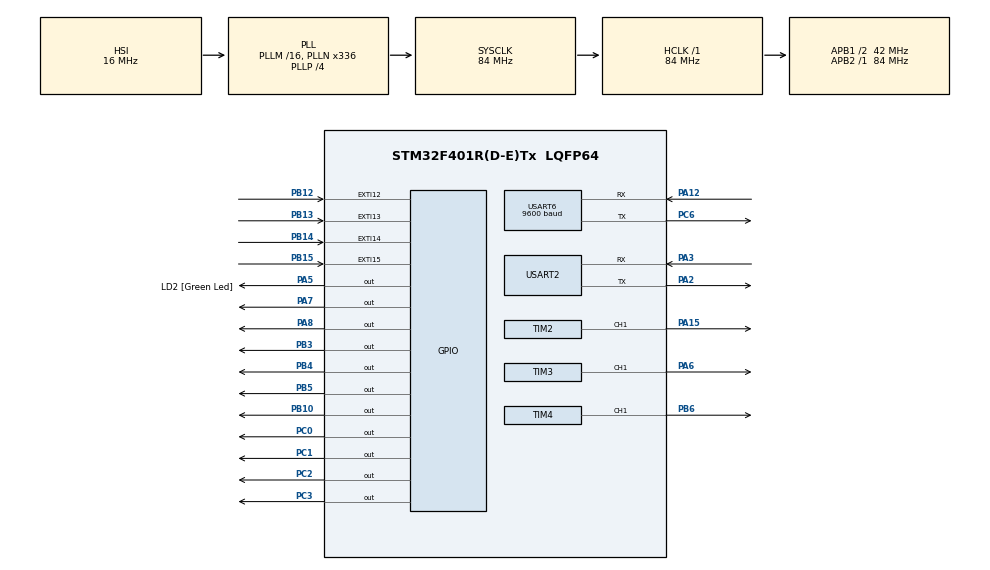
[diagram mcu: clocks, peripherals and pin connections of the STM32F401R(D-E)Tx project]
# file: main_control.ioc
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Mcu.Family=STM32F4
Mcu.Name=STM32F401R(D-E)Tx
Mcu.Package=LQFP64
NVIC.EXTI15_10_IRQn=true\:0\:0\:false\:false\:true\:true\:true\:true
NVIC.PriorityGroup=NVIC_PRIORITYGROUP_0
NVIC.TIM1_TRG_COM_TIM11_IRQn=true\:0\:0\:false\:false\:true\:true\:true\:true
NVIC.TIM1_UP_TIM10_IRQn=true\:0\:0\:false\:false\:true\:true\:true\:true
NVIC.TIM5_IRQn=true\:0\:0\:false\:false\:true\:true\:true\:true
NVIC.USART2_IRQn=true\:0\:0\:false\:false\:true\:true\:true\:true
NVIC.USART6_IRQn=true\:0\:0\:false\:false\:true\:true\:true\:true
PA12.Mode=Asynchronous
PA12.Signal=USART6_RX
PA13.GPIO_Label=TMS
PA13.Signal=SYS_JTMS-SWDIO
PA14.GPIO_Label=TCK
PA14.Signal=SYS_JTCK-SWCLK
PA15.Signal=S_TIM2_CH1_ETR
PA2.Mode=Asynchronous
PA2.Signal=USART2_TX
PA3.Mode=Asynchronous
PA3.Signal=USART2_RX
PA5.GPIO_Label=LD2 [Green Led]
PA5.GPIO_PuPd=GPIO_NOPULL
PA5.GPIO_Speed=GPIO_SPEED_FREQ_LOW
PA5.Signal=GPIO_Output
PA6.Signal=S_TIM3_CH1
PA7.Signal=GPIO_Output
PA8.Signal=GPIO_Output
PB10.Signal=GPIO_Output
PB12.Signal=GPXTI12
PB13.Signal=GPXTI13
PB14.Signal=GPXTI14
PB15.Signal=GPXTI15
PB3.Signal=GPIO_Output
PB4.Signal=GPIO_Output
PB5.Signal=GPIO_Output
PB6.Signal=S_TIM4_CH1
PC0.Signal=GPIO_Output
PC1.Signal=GPIO_Output
PC14-OSC32_IN.Signal=RCC_OSC32_IN
PC15-OSC32_OUT.Signal=RCC_OSC32_OUT
PC2.Signal=GPIO_Output
PC3.Signal=GPIO_Output
PC6.Mode=Asynchronous
PC6.Signal=USART6_TX
PH0\ -\ OSC_IN.Signal=RCC_OSC_IN
PH1\ -\ OSC_OUT.Signal=RCC_OSC_OUT
ProjectManager.HeapSize=0x200
ProjectManager.StackSize=0x400
ProjectManager.TargetToolchain=STM32CubeIDE
RCC.AHBFreq_Value=84000000
RCC.APB1CLKDivider=RCC_HCLK_DIV2
RCC.APB1Freq_Value=42000000
RCC.APB1TimFreq_Value=84000000
RCC.APB2Freq_Value=84000000
RCC.APB2TimFreq_Value=84000000
RCC.CortexFreq_Value=84000000
RCC.HCLKFreq_Value=84000000
RCC.HSE_VALUE=8000000
RCC.HSI_VALUE=16000000
RCC.LSE_VALUE=32768
RCC.PLLN=336
RCC.PLLP=RCC_PLLP_DIV4
RCC.PLLQ=7
RCC.SYSCLKFreq_VALUE=84000000
RCC.SYSCLKSource=RCC_SYSCLKSOURCE_PLLCLK
RCC.VCOOutputFreq_Value=336000000
SH.S_TIM2_CH1_ETR.0=TIM2_CH1,PWM Generation1 CH1
SH.S_TIM3_CH1.0=TIM3_CH1,PWM Generation1 CH1
SH.S_TIM4_CH1.0=TIM4_CH1,PWM Generation1 CH1
TIM10.Period=9000
TIM10.Prescaler=4500
TIM11.Period=3999
TIM11.Prescaler=39
TIM2.Channel-PWM\ Generation1\ CH1=TIM_CHANNEL_1
TIM2.Period=1999
TIM2.Prescaler=419
TIM3.Channel-PWM\ Generation1\ CH1=TIM_CHANNEL_1
TIM3.Period=1999
TIM3.Prescaler=419
TIM4.Channel-PWM\ Generation1\ CH1=TIM_CHANNEL_1
TIM4.Period=3999
TIM4.Prescaler=839
TIM4.Pulse-PWM\ Generation1\ CH1=2
TIM5.Period=3999
TIM5.Prescaler=83
USART2.VirtualMode=VM_ASYNC
USART6.BaudRate=9600
USART6.VirtualMode=VM_ASYNC
VP_TIM10_VS_ClockSourceINT.Mode=Enable_Timer
VP_TIM11_VS_ClockSourceINT.Mode=Enable_Timer
VP_TIM2_VS_ClockSourceINT.Mode=Internal
VP_TIM3_VS_ClockSourceINT.Mode=Internal
VP_TIM4_VS_ClockSourceINT.Mode=Internal
VP_TIM5_VS_ClockSourceINT.Mode=Internal
board=NUCLEO-F401RE

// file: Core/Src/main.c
/* USER CODE BEGIN Header */
/**
  ******************************************************************************
  * @file           : main.c
  * @brief          : Main program body
  ******************************************************************************
  * @attention
  *
  * Copyright (c) 2024 STMicroelectronics.
  * All rights reserved.
  *
  * This software is licensed under terms that can be found in the LICENSE file
  * in the root directory of this software component.
  * If no LICENSE file comes with this software, it is provided AS-IS.
  *
  ******************************************************************************
  */
/* USER CODE END Header */
#include "main.h"

/* USER CODE BEGIN Includes */
#include"stdio.h"
#include"string.h"

/* USER CODE END Includes */

TIM_HandleTypeDef htim2;
TIM_HandleTypeDef htim3;
TIM_HandleTypeDef htim4;
TIM_HandleTypeDef htim5;
TIM_HandleTypeDef htim10;
TIM_HandleTypeDef htim11;

UART_HandleTypeDef huart2;
UART_HandleTypeDef huart6;

void SystemClock_Config(void);
static void MX_GPIO_Init(void);
static void MX_USART2_UART_Init(void);
static void MX_USART6_UART_Init(void);
static void MX_TIM11_Init(void);
static void MX_TIM2_Init(void);
static void MX_TIM3_Init(void);
static void MX_TIM10_Init(void);
static void MX_TIM4_Init(void);
static void MX_TIM5_Init(void);

/* USER CODE BEGIN 0 */
#define ENABLE_GPIO GPIOA
#define ENABLE_PIN GPIO_PIN_8

#define DIR1_GPIO GPIOB
#define DIR1_PIN GPIO_PIN_10
#define DIR2_GPIO GPIOB
#define DIR2_PIN GPIO_PIN_4
#define DIR3_GPIO GPIOB
#define DIR3_PIN GPIO_PIN_5
#define DIR4_GPIO GPIOB
#define DIR4_PIN GPIO_PIN_3

#define STEP_GPIO GPIOA
#define STEP_PIN GPIO_PIN_7

#define HB1_GPIO  GPIOC
#define HB2_GPIO  GPIOC
#define HB3_GPIO  GPIOC
#define HB4_GPIO  GPIOC
#define HB1_PIN  GPIO_PIN_0
#define HB2_PIN GPIO_PIN_1
#define HB3_PIN GPIO_PIN_2
#define HB4_PIN GPIO_PIN_3
char answer = 0;
char answers[2] = {0};
int answerOffset = 1;

int stepState = 0;
int PINCH_FORWARD_CCR = 205;
int PINCH_BACKWARD_CCR = 320;
int PAN_STOP = 302;
int PAN_UP = 310;
int PAN_DOWN = 295;

void HAL_GPIO_EXTI_Callback(uint16_t pin){
	if(pin == GPIO_PIN_12 || pin == GPIO_PIN_13 || pin == GPIO_PIN_14 || pin == GPIO_PIN_15){
		HAL_TIM_Base_Start_IT(&htim5);
	}
}

void step(int num)
{
	HAL_GPIO_WritePin(STEP_GPIO, STEP_PIN, 1);
	HAL_Delay(5);
	HAL_GPIO_WritePin(STEP_GPIO, STEP_PIN, 0);
	HAL_Delay(5);
}

void set_forward_dir()
{
	HAL_GPIO_WritePin(DIR1_GPIO, DIR1_PIN, 1);
	HAL_GPIO_WritePin(DIR2_GPIO, DIR2_PIN, 1);
	HAL_GPIO_WritePin(DIR3_GPIO, DIR3_PIN, 1-1);
	HAL_GPIO_WritePin(DIR4_GPIO, DIR4_PIN, 1-1);
}
void set_backward_dir()
{
	HAL_GPIO_WritePin(DIR1_GPIO, DIR1_PIN, 0);
	HAL_GPIO_WritePin(DIR2_GPIO, DIR2_PIN, 0);
	HAL_GPIO_WritePin(DIR3_GPIO, DIR3_PIN, 1-0);
	HAL_GPIO_WritePin(DIR4_GPIO, DIR4_PIN, 1-0);
}
void set_left_dir()
{
	HAL_GPIO_WritePin(DIR1_GPIO, DIR1_PIN, 0);
	HAL_GPIO_WritePin(DIR2_GPIO, DIR2_PIN, 1);
	HAL_GPIO_WritePin(DIR3_GPIO, DIR3_PIN, 1-1);
	HAL_GPIO_WritePin(DIR4_GPIO, DIR4_PIN, 1-0);
}
void set_right_dir()
{
	HAL_GPIO_WritePin(DIR1_GPIO, DIR1_PIN, 1);
	HAL_GPIO_WritePin(DIR2_GPIO, DIR2_PIN, 0);
	HAL_GPIO_WritePin(DIR3_GPIO, DIR3_PIN, 1-0);
	HAL_GPIO_WritePin(DIR4_GPIO, DIR4_PIN, 1-1);
}
void set_ccw_dir()
{
	HAL_GPIO_WritePin(DIR1_GPIO, DIR1_PIN, 0);
	HAL_GPIO_WritePin(DIR2_GPIO, DIR2_PIN, 0);
	HAL_GPIO_WritePin(DIR3_GPIO, DIR3_PIN, 1-1);
	HAL_GPIO_WritePin(DIR4_GPIO, DIR4_PIN, 1-1);
}
void set_cw_dir()
{
	HAL_GPIO_WritePin(DIR1_GPIO, DIR1_PIN, 1);
	HAL_GPIO_WritePin(DIR2_GPIO, DIR2_PIN, 1);
	HAL_GPIO_WritePin(DIR3_GPIO, DIR3_PIN, 1-0);
	HAL_GPIO_WritePin(DIR4_GPIO, DIR4_PIN, 1-0);
}

static int steps_left = 0;
static int disabled = 0;
void enable()
{
	HAL_GPIO_WritePin(ENABLE_GPIO, ENABLE_PIN, 0);
}
void disable()
{
	HAL_GPIO_WritePin(ENABLE_GPIO, ENABLE_PIN, 1);
}

void HAL_TIM_PeriodElapsedCallback(TIM_HandleTypeDef *htim) {

	static int dir = 0;

    if (htim->Instance == TIM11) {
    	int disable_next = 0;
    	if (steps_left > 0)
    	{
    		enable();
    		if (stepState)
    		{
    			steps_left--;
    			if (steps_left == 0)
    			{
    				disable_next = 1;
    			}
    		}
    		switch(dir)
    		{
    		case 0:
    			set_forward_dir();
    			break;
    		case 1:
    			set_backward_dir();
    			break;
    		case 2:
    			set_left_dir();
    			break;
    		case 3:
    			set_right_dir();
    			break;
    		}
    	}
		HAL_GPIO_WritePin(STEP_GPIO, STEP_PIN, stepState ? GPIO_PIN_SET : GPIO_PIN_RESET);
    	stepState = !stepState;
    	if (disable_next)
    	{
    		disable();
    		disabled = 1;
    		HAL_TIM_Base_Stop_IT(&htim11);
    	}
    }
    else if (htim->Instance == TIM10)
    {
    	TIM2->CCR1 = PINCH_BACKWARD_CCR;
    	HAL_TIM_Base_Stop_IT(&htim10);
    }
    else if(htim->Instance == TIM5){
		GPIO_PinState ultra1 = HAL_GPIO_ReadPin(GPIOB, GPIO_PIN_12);
		GPIO_PinState ultra2 = HAL_GPIO_ReadPin(GPIOB, GPIO_PIN_13);
		GPIO_PinState ultra3 = HAL_GPIO_ReadPin(GPIOB, GPIO_PIN_14);
		GPIO_PinState ultra4 = HAL_GPIO_ReadPin(GPIOB, GPIO_PIN_15);
		if (steps_left == 0)
		{
			if(ultra1){
				 set_forward_dir();
				 dir = 0;
				 steps_left = 50;
				printf("1\n");
				HAL_TIM_Base_Start_IT(&htim11);
			}
			else if(ultra2){
				set_left_dir();
				dir = 3;
				steps_left = 50;
				printf("2\n");
				HAL_TIM_Base_Start_IT(&htim11);
			}
			else if(ultra3){
				set_backward_dir();
				dir = 1;
				steps_left = 50;
				printf("3\n");
				HAL_TIM_Base_Start_IT(&htim11);
			}
			else if(ultra4)
			{
				set_right_dir();
				dir = 2;
				steps_left = 50;
				printf("4\n");
				HAL_TIM_Base_Start_IT(&htim11);
			}
		}
		HAL_TIM_Base_Stop_IT(&htim5);
	}
}

uint16_t number = 0;
/* USER CODE END 0 */

int main(void)
{

  /* MCU Configuration--------------------------------------------------------*/

  /* Reset of all peripherals, Initializes the Flash interface and the Systick. */
  HAL_Init();

  /* Configure the system clock */
  SystemClock_Config();

  /* Initialize all configured peripherals */
  MX_GPIO_Init();
  MX_USART2_UART_Init();
  MX_USART6_UART_Init();
  MX_TIM11_Init();
  MX_TIM2_Init();
  MX_TIM3_Init();
  MX_TIM10_Init();
  MX_TIM4_Init();
  MX_TIM5_Init();
  /* USER CODE BEGIN 2 */
  // HAL_TIM_Base_Start_IT(&htim10);
  HAL_UART_Receive_IT(&huart6, &answer, 1);
  HAL_UART_Receive_IT(&huart2, &number, 1);
  HAL_TIM_PWM_Start(&htim2, TIM_CHANNEL_1);
  HAL_TIM_PWM_Start(&htim3, TIM_CHANNEL_1);
  HAL_TIM_PWM_Start(&htim4, TIM_CHANNEL_1);
  // HAL_TIM_Base_Start_IT(&htim11);
  /* USER CODE END 2 */

  /* Infinite loop */
  /* USER CODE BEGIN WHILE */
  // HAL_GPIO_WritePin(ENABLE_GPIO, ENABLE_PIN, 1);
  HAL_GPIO_WritePin(DIR1_GPIO, DIR1_PIN, 0);
  HAL_GPIO_WritePin(DIR2_GPIO, DIR2_PIN, 0);
  HAL_GPIO_WritePin(DIR3_GPIO, DIR3_PIN, 0);
  HAL_GPIO_WritePin(DIR4_GPIO, DIR4_PIN, 0);

  disable();
  while (1)
  {
	  printf("hello world\n");
	  // HAL_GPIO_WritePin(STEP_GPIO, STEP_PIN, 1);
	  // HAL_Delay(100);
	  // HAL_GPIO_WritePin(STEP_GPIO, STEP_PIN, 0);
	  // HAL_Delay(100);
	  HAL_Delay(1000);
    /* USER CODE END WHILE */

  }
}

void SystemClock_Config(void)
{
  RCC_OscInitTypeDef RCC_OscInitStruct = {0};
  RCC_ClkInitTypeDef RCC_ClkInitStruct = {0};

  /** Configure the main internal regulator output voltage
  */
  __HAL_RCC_PWR_CLK_ENABLE();
  __HAL_PWR_VOLTAGESCALING_CONFIG(PWR_REGULATOR_VOLTAGE_SCALE2);

  /** Initializes the RCC Oscillators according to the specified parameters
  * in the RCC_OscInitTypeDef structure.
  */
  RCC_OscInitStruct.OscillatorType = RCC_OSCILLATORTYPE_HSI;
  RCC_OscInitStruct.HSIState = RCC_HSI_ON;
  RCC_OscInitStruct.HSICalibrationValue = RCC_HSICALIBRATION_DEFAULT;
  RCC_OscInitStruct.PLL.PLLState = RCC_PLL_ON;
  RCC_OscInitStruct.PLL.PLLSource = RCC_PLLSOURCE_HSI;
  RCC_OscInitStruct.PLL.PLLM = 16;
  RCC_OscInitStruct.PLL.PLLN = 336;
  RCC_OscInitStruct.PLL.PLLP = RCC_PLLP_DIV4;
  RCC_OscInitStruct.PLL.PLLQ = 7;
  if (HAL_RCC_OscConfig(&RCC_OscInitStruct) != HAL_OK)
  {
    Error_Handler();
  }

  /** Initializes the CPU, AHB and APB buses clocks
  */
  RCC_ClkInitStruct.ClockType = RCC_CLOCKTYPE_HCLK|RCC_CLOCKTYPE_SYSCLK
                              |RCC_CLOCKTYPE_PCLK1|RCC_CLOCKTYPE_PCLK2;
  RCC_ClkInitStruct.SYSCLKSource = RCC_SYSCLKSOURCE_PLLCLK;
  RCC_ClkInitStruct.AHBCLKDivider = RCC_SYSCLK_DIV1;
  RCC_ClkInitStruct.APB1CLKDivider = RCC_HCLK_DIV2;
  RCC_ClkInitStruct.APB2CLKDivider = RCC_HCLK_DIV1;

  if (HAL_RCC_ClockConfig(&RCC_ClkInitStruct, FLASH_LATENCY_2) != HAL_OK)
  {
    Error_Handler();
  }
}

static void MX_TIM2_Init(void)
{

  TIM_ClockConfigTypeDef sClockSourceConfig = {0};
  TIM_MasterConfigTypeDef sMasterConfig = {0};
  TIM_OC_InitTypeDef sConfigOC = {0};

  htim2.Instance = TIM2;
  htim2.Init.Prescaler = 419;
  htim2.Init.CounterMode = TIM_COUNTERMODE_UP;
  htim2.Init.Period = 1999;
  htim2.Init.ClockDivision = TIM_CLOCKDIVISION_DIV1;
  htim2.Init.AutoReloadPreload = TIM_AUTORELOAD_PRELOAD_DISABLE;
  if (HAL_TIM_Base_Init(&htim2) != HAL_OK)
  {
    Error_Handler();
  }
  sClockSourceConfig.ClockSource = TIM_CLOCKSOURCE_INTERNAL;
  if (HAL_TIM_ConfigClockSource(&htim2, &sClockSourceConfig) != HAL_OK)
  {
    Error_Handler();
  }
  if (HAL_TIM_PWM_Init(&htim2) != HAL_OK)
  {
    Error_Handler();
  }
  sMasterConfig.MasterOutputTrigger = TIM_TRGO_RESET;
  sMasterConfig.MasterSlaveMode = TIM_MASTERSLAVEMODE_DISABLE;
  if (HAL_TIMEx_MasterConfigSynchronization(&htim2, &sMasterConfig) != HAL_OK)
  {
    Error_Handler();
  }
  sConfigOC.OCMode = TIM_OCMODE_PWM1;
  sConfigOC.Pulse = 0;
  sConfigOC.OCPolarity = TIM_OCPOLARITY_HIGH;
  sConfigOC.OCFastMode = TIM_OCFAST_DISABLE;
  if (HAL_TIM_PWM_ConfigChannel(&htim2, &sConfigOC, TIM_CHANNEL_1) != HAL_OK)
  {
    Error_Handler();
  }
  HAL_TIM_MspPostInit(&htim2);

}

static void MX_TIM3_Init(void)
{

  TIM_ClockConfigTypeDef sClockSourceConfig = {0};
  TIM_MasterConfigTypeDef sMasterConfig = {0};
  TIM_OC_InitTypeDef sConfigOC = {0};

  htim3.Instance = TIM3;
  htim3.Init.Prescaler = 419;
  htim3.Init.CounterMode = TIM_COUNTERMODE_UP;
  htim3.Init.Period = 1999;
  htim3.Init.ClockDivision = TIM_CLOCKDIVISION_DIV1;
  htim3.Init.AutoReloadPreload = TIM_AUTORELOAD_PRELOAD_DISABLE;
  if (HAL_TIM_Base_Init(&htim3) != HAL_OK)
  {
    Error_Handler();
  }
  sClockSourceConfig.ClockSource = TIM_CLOCKSOURCE_INTERNAL;
  if (HAL_TIM_ConfigClockSource(&htim3, &sClockSourceConfig) != HAL_OK)
  {
    Error_Handler();
  }
  if (HAL_TIM_PWM_Init(&htim3) != HAL_OK)
  {
    Error_Handler();
  }
  sMasterConfig.MasterOutputTrigger = TIM_TRGO_RESET;
  sMasterConfig.MasterSlaveMode = TIM_MASTERSLAVEMODE_DISABLE;
  if (HAL_TIMEx_MasterConfigSynchronization(&htim3, &sMasterConfig) != HAL_OK)
  {
    Error_Handler();
  }
  sConfigOC.OCMode = TIM_OCMODE_PWM1;
  sConfigOC.Pulse = 0;
  sConfigOC.OCPolarity = TIM_OCPOLARITY_HIGH;
  sConfigOC.OCFastMode = TIM_OCFAST_DISABLE;
  if (HAL_TIM_PWM_ConfigChannel(&htim3, &sConfigOC, TIM_CHANNEL_1) != HAL_OK)
  {
    Error_Handler();
  }
  HAL_TIM_MspPostInit(&htim3);

}

static void MX_TIM4_Init(void)
{

  TIM_ClockConfigTypeDef sClockSourceConfig = {0};
  TIM_MasterConfigTypeDef sMasterConfig = {0};
  TIM_OC_InitTypeDef sConfigOC = {0};

  htim4.Instance = TIM4;
  htim4.Init.Prescaler = 839;
  htim4.Init.CounterMode = TIM_COUNTERMODE_UP;
  htim4.Init.Period = 3999;
  htim4.Init.ClockDivision = TIM_CLOCKDIVISION_DIV1;
  htim4.Init.AutoReloadPreload = TIM_AUTORELOAD_PRELOAD_DISABLE;
  if (HAL_TIM_Base_Init(&htim4) != HAL_OK)
  {
    Error_Handler();
  }
  sClockSourceConfig.ClockSource = TIM_CLOCKSOURCE_INTERNAL;
  if (HAL_TIM_ConfigClockSource(&htim4, &sClockSourceConfig) != HAL_OK)
  {
    Error_Handler();
  }
  if (HAL_TIM_PWM_Init(&htim4) != HAL_OK)
  {
    Error_Handler();
  }
  sMasterConfig.MasterOutputTrigger = TIM_TRGO_RESET;
  sMasterConfig.MasterSlaveMode = TIM_MASTERSLAVEMODE_DISABLE;
  if (HAL_TIMEx_MasterConfigSynchronization(&htim4, &sMasterConfig) != HAL_OK)
  {
    Error_Handler();
  }
  sConfigOC.OCMode = TIM_OCMODE_PWM1;
  sConfigOC.Pulse = 2;
  sConfigOC.OCPolarity = TIM_OCPOLARITY_HIGH;
  sConfigOC.OCFastMode = TIM_OCFAST_DISABLE;
  if (HAL_TIM_PWM_ConfigChannel(&htim4, &sConfigOC, TIM_CHANNEL_1) != HAL_OK)
  {
    Error_Handler();
  }
  HAL_TIM_MspPostInit(&htim4);

}

static void MX_TIM5_Init(void)
{

  TIM_ClockConfigTypeDef sClockSourceConfig = {0};
  TIM_MasterConfigTypeDef sMasterConfig = {0};

  htim5.Instance = TIM5;
  htim5.Init.Prescaler = 83;
  htim5.Init.CounterMode = TIM_COUNTERMODE_UP;
  htim5.Init.Period = 3999;
  htim5.Init.ClockDivision = TIM_CLOCKDIVISION_DIV1;
  htim5.Init.AutoReloadPreload = TIM_AUTORELOAD_PRELOAD_DISABLE;
  if (HAL_TIM_Base_Init(&htim5) != HAL_OK)
  {
    Error_Handler();
  }
  sClockSourceConfig.ClockSource = TIM_CLOCKSOURCE_INTERNAL;
  if (HAL_TIM_ConfigClockSource(&htim5, &sClockSourceConfig) != HAL_OK)
  {
    Error_Handler();
  }
  sMasterConfig.MasterOutputTrigger = TIM_TRGO_RESET;
  sMasterConfig.MasterSlaveMode = TIM_MASTERSLAVEMODE_DISABLE;
  if (HAL_TIMEx_MasterConfigSynchronization(&htim5, &sMasterConfig) != HAL_OK)
  {
    Error_Handler();
  }

}

static void MX_TIM10_Init(void)
{

  htim10.Instance = TIM10;
  htim10.Init.Prescaler = 4500;
  htim10.Init.CounterMode = TIM_COUNTERMODE_UP;
  htim10.Init.Period = 9000;
  htim10.Init.ClockDivision = TIM_CLOCKDIVISION_DIV1;
  htim10.Init.AutoReloadPreload = TIM_AUTORELOAD_PRELOAD_DISABLE;
  if (HAL_TIM_Base_Init(&htim10) != HAL_OK)
  {
    Error_Handler();
  }

}

static void MX_TIM11_Init(void)
{

  htim11.Instance = TIM11;
  htim11.Init.Prescaler = 39;
  htim11.Init.CounterMode = TIM_COUNTERMODE_UP;
  htim11.Init.Period = 3999;
  htim11.Init.ClockDivision = TIM_CLOCKDIVISION_DIV1;
  htim11.Init.AutoReloadPreload = TIM_AUTORELOAD_PRELOAD_DISABLE;
  if (HAL_TIM_Base_Init(&htim11) != HAL_OK)
  {
    Error_Handler();
  }

}

static void MX_USART2_UART_Init(void)
{

  huart2.Instance = USART2;
  huart2.Init.BaudRate = 115200;
  huart2.Init.WordLength = UART_WORDLENGTH_8B;
  huart2.Init.StopBits = UART_STOPBITS_1;
  huart2.Init.Parity = UART_PARITY_NONE;
  huart2.Init.Mode = UART_MODE_TX_RX;
  huart2.Init.HwFlowCtl = UART_HWCONTROL_NONE;
  huart2.Init.OverSampling = UART_OVERSAMPLING_16;
  if (HAL_UART_Init(&huart2) != HAL_OK)
  {
    Error_Handler();
  }

}

static void MX_USART6_UART_Init(void)
{

  huart6.Instance = USART6;
  huart6.Init.BaudRate = 9600;
  huart6.Init.WordLength = UART_WORDLENGTH_8B;
  huart6.Init.StopBits = UART_STOPBITS_1;
  huart6.Init.Parity = UART_PARITY_NONE;
  huart6.Init.Mode = UART_MODE_TX_RX;
  huart6.Init.HwFlowCtl = UART_HWCONTROL_NONE;
  huart6.Init.OverSampling = UART_OVERSAMPLING_16;
  if (HAL_UART_Init(&huart6) != HAL_OK)
  {
    Error_Handler();
  }

}

static void MX_GPIO_Init(void)
{
  GPIO_InitTypeDef GPIO_InitStruct = {0};

  /* GPIO Ports Clock Enable */
  __HAL_RCC_GPIOC_CLK_ENABLE();
  __HAL_RCC_GPIOH_CLK_ENABLE();
  __HAL_RCC_GPIOA_CLK_ENABLE();
  __HAL_RCC_GPIOB_CLK_ENABLE();

  /*Configure GPIO pin Output Level */
  HAL_GPIO_WritePin(GPIOC, GPIO_PIN_0|GPIO_PIN_1|GPIO_PIN_2|GPIO_PIN_3, GPIO_PIN_RESET);

  /*Configure GPIO pin Output Level */
  HAL_GPIO_WritePin(GPIOA, LD2_Pin|GPIO_PIN_7|GPIO_PIN_8, GPIO_PIN_RESET);

  /*Configure GPIO pin Output Level */
  HAL_GPIO_WritePin(GPIOB, GPIO_PIN_10|GPIO_PIN_3|GPIO_PIN_4|GPIO_PIN_5, GPIO_PIN_RESET);

  /*Configure GPIO pins : PC0 PC1 PC2 PC3 */
  GPIO_InitStruct.Pin = GPIO_PIN_0|GPIO_PIN_1|GPIO_PIN_2|GPIO_PIN_3;
  GPIO_InitStruct.Mode = GPIO_MODE_OUTPUT_PP;
  GPIO_InitStruct.Pull = GPIO_NOPULL;
  GPIO_InitStruct.Speed = GPIO_SPEED_FREQ_LOW;
  HAL_GPIO_Init(GPIOC, &GPIO_InitStruct);

  /*Configure GPIO pins : LD2_Pin PA7 PA8 */
  GPIO_InitStruct.Pin = LD2_Pin|GPIO_PIN_7|GPIO_PIN_8;
  GPIO_InitStruct.Mode = GPIO_MODE_OUTPUT_PP;
  GPIO_InitStruct.Pull = GPIO_NOPULL;
  GPIO_InitStruct.Speed = GPIO_SPEED_FREQ_LOW;
  HAL_GPIO_Init(GPIOA, &GPIO_InitStruct);

  /*Configure GPIO pins : PB10 PB3 PB4 PB5 */
  GPIO_InitStruct.Pin = GPIO_PIN_10|GPIO_PIN_3|GPIO_PIN_4|GPIO_PIN_5;
  GPIO_InitStruct.Mode = GPIO_MODE_OUTPUT_PP;
  GPIO_InitStruct.Pull = GPIO_NOPULL;
  GPIO_InitStruct.Speed = GPIO_SPEED_FREQ_LOW;
  HAL_GPIO_Init(GPIOB, &GPIO_InitStruct);

  /*Configure GPIO pins : PB12 PB13 PB14 PB15 */
  GPIO_InitStruct.Pin = GPIO_PIN_12|GPIO_PIN_13|GPIO_PIN_14|GPIO_PIN_15;
  GPIO_InitStruct.Mode = GPIO_MODE_IT_RISING;
  GPIO_InitStruct.Pull = GPIO_NOPULL;
  HAL_GPIO_Init(GPIOB, &GPIO_InitStruct);

  /* EXTI interrupt init*/
  HAL_NVIC_SetPriority(EXTI15_10_IRQn, 0, 0);
  HAL_NVIC_EnableIRQ(EXTI15_10_IRQn);

}

/* USER CODE BEGIN 4 */

#ifdef __GNUC__
#define PUTCHAR_PROTOTYPE int __io_putchar(int ch)
#else
  #define PUTCHAR_PROTOTYPE int fputc(int ch, FILE *f)
#endif /* __GNUC__ */
PUTCHAR_PROTOTYPE
{
  HAL_UART_Transmit(&huart2, (uint8_t *)&ch, 1, 0xFFFF);
  return ch;
}

void HAL_UART_RxCpltCallback(UART_HandleTypeDef* hadc) {

	if (hadc == &huart2)
	{
		static char numbers[4] = {0};
		static int offset = 0;

		if (number != '\n')
		{
			printf("received: %c\n", number);
			numbers[offset++] = number;

			if (offset == 3)
			{
				int intNum = atoi(numbers);
				printf("set: %d\n", intNum);
				// TIM2->CCR1 = intNum;
				TIM3->CCR1 = intNum;
				offset = 0;
			}
		}
		HAL_UART_Receive_IT(&huart2, &number, 1);

	}
	else
	{

		answers[answerOffset--] = answer;
		if (answerOffset == -1)
		{
			answerOffset = 1;
		}
		else
		{
			HAL_UART_Receive_IT(&huart6, &answer, 1);
			return;
		}
		printf("received: %d\n", *(uint16_t*)(&answers));
		static int hold = 0;
		switch(*(uint16_t*)(&answers))
		{
		case 1:
			set_ccw_dir();
			break;
		case 2:
			set_cw_dir();
			break;
		case 4:
			set_forward_dir();
			break;
		case 8:
			set_backward_dir();
			break;
		case 16:
			HAL_TIM_Base_Start_IT(&htim10);
			TIM2->CCR1 = PINCH_FORWARD_CCR;
			break;
		case 32:
			static int spinning = 0;

			if (!hold)
			{
				hold = 1;
				spinning = 1-spinning;
			}
			if (!spinning)
			{
				HAL_GPIO_WritePin(HB1_GPIO, HB1_PIN, 0);
				HAL_GPIO_WritePin(HB2_GPIO, HB2_PIN, 0);
				HAL_GPIO_WritePin(HB3_GPIO, HB3_PIN, 0);
				HAL_GPIO_WritePin(HB4_GPIO, HB4_PIN, 0);
			}
			else
			{
				HAL_GPIO_WritePin(HB1_GPIO, HB1_PIN, 0);
				HAL_GPIO_WritePin(HB2_GPIO, HB2_PIN, 1);
				HAL_GPIO_WritePin(HB3_GPIO, HB3_PIN, 1);
				HAL_GPIO_WritePin(HB4_GPIO, HB4_PIN, 0);
			}
			break;

		}

		if ((answer & 0b1111) == 0 && !disabled && steps_left == 0)
		{
			disabled = 1;
			disable();
			HAL_TIM_Base_Stop_IT(&htim11);
		}
		else if ((answer & 0b1111) != 0 && disabled)
		{
			disabled = 0;
			enable();
			HAL_TIM_Base_Start_IT(&htim11);
		}
		disabled = (answer & 0b1111) == 0;
		if ((answer & 32) == 0)
		{
			hold = 0;
		}
		 HAL_UART_Receive_IT(&huart6, &answer, 1);
	}
 }
/* USER CODE END 4 */

void Error_Handler(void)
{
  __disable_irq();
  while (1)
  {
  }
}
